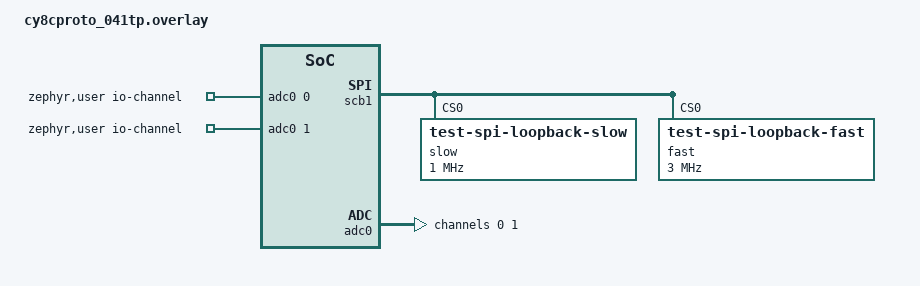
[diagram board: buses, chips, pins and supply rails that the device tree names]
/*
 * Copyright (c) 2025 Infineon Technologies AG,
 * or an affiliate of Infineon Technologies AG.
 *
 * SPDX-License-Identifier: Apache-2.0
 */

tst_dma0: &dma0 {
	status = "okay";
};

spi1: &scb1 {
	compatible = "infineon,spi";
	status = "okay";
	pinctrl-0 = <&p1_5_scb1_spi_m_mosi &p1_6_scb1_spi_m_miso
		     &p1_7_scb1_spi_m_clk &p1_3_scb1_spi_m_select0>;
	pinctrl-names = "default";
	clocks = <&peri_clk_div11>;
	#address-cells = <1>;
	#size-cells = <0>;
};

&p1_5_scb1_spi_m_mosi {
	drive-push-pull;
};

&p1_6_scb1_spi_m_miso {
	input-enable;
};

&p1_7_scb1_spi_m_clk {
	drive-push-pull;
};

&p1_3_scb1_spi_m_select0 {
	drive-push-pull;
};

&peri_clk_div11 {
	status = "okay";
};

&spi1 {
	status = "okay";
	slow@0 {
		compatible = "test-spi-loopback-slow";
		reg = <0>;
		spi-max-frequency = <1000000>;
	};
	fast@0 {
		compatible = "test-spi-loopback-fast";
		reg = <0>;
		spi-max-frequency = <3000000>;
	};
};

#include <zephyr/dt-bindings/adc/adc.h>

#include <zephyr/dt-bindings/adc/infineon-sar.h>

#include <zephyr/dt-bindings/pinctrl/ifx_cat1-pinctrl.h>

/ {
	zephyr,user {
		io-channels = <&adc0 0>, <&adc0 1>;
	};
};

&pinctrl {
	p2_0_adc: p2_0_adc {
		pinmux = <DT_CAT1_PINMUX(2, 0, HSIOM_SEL_GPIO)>;
	};
	p2_2_adc: p2_2_adc {
		pinmux = <DT_CAT1_PINMUX(2, 2, HSIOM_SEL_GPIO)>;
	};
	p2_3_adc: p2_3_adc {
		pinmux = <DT_CAT1_PINMUX(2, 3, HSIOM_SEL_GPIO)>;
	};
};

&adc0 {
	status = "okay";
	clocks = <&peri_clk_div4>;
	pinctrl-0 = <&p2_0_adc &p2_2_adc &p2_3_adc>;
	pinctrl-names = "default";
	#address-cells = <1>;
	#size-cells = <0>;
	channel@0 {
		reg = <0>;
		zephyr,gain = "ADC_GAIN_1";
		zephyr,reference = "ADC_REF_INTERNAL";
		zephyr,input-positive = <CY_SAR_ADDR_SARMUX_0>;
		zephyr,resolution = <12>;
		zephyr,oversampling = <8>;
		zephyr,acquisition-time = <ADC_ACQ_TIME_DEFAULT>;
	};
	channel@1 {
		reg = <1>;
		zephyr,gain = "ADC_GAIN_1";
		zephyr,differential;
		zephyr,reference = "ADC_REF_INTERNAL";
		zephyr,input-positive = <CY_SAR_ADDR_SARMUX_2>;
		zephyr,input-negative = <CY_SAR_ADDR_SARMUX_3>;
		zephyr,resolution = <12>;
		zephyr,oversampling = <0>;
		zephyr,acquisition-time = <ADC_ACQ_TIME_DEFAULT>;
	};
};
